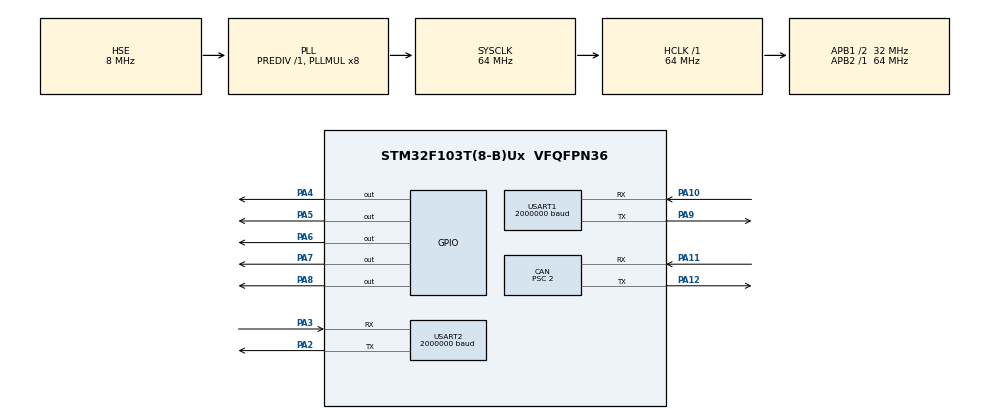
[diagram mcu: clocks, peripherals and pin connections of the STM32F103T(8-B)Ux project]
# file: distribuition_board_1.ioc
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CAN.BS1=CAN_BS1_12TQ
CAN.BS2=CAN_BS2_3TQ
CAN.CalculateBaudRate=1000000
CAN.CalculateTimeBit=1000
CAN.CalculateTimeQuantum=62.5
CAN.Prescaler=2
Dma.Request0=USART1_RX
Dma.Request1=USART2_RX
Dma.USART1_RX.0.Direction=DMA_PERIPH_TO_MEMORY
Dma.USART1_RX.0.Instance=DMA1_Channel5
Dma.USART1_RX.0.MemDataAlignment=DMA_MDATAALIGN_BYTE
Dma.USART1_RX.0.MemInc=DMA_MINC_ENABLE
Dma.USART1_RX.0.Mode=DMA_NORMAL
Dma.USART1_RX.0.PeriphDataAlignment=DMA_PDATAALIGN_BYTE
Dma.USART1_RX.0.PeriphInc=DMA_PINC_DISABLE
Dma.USART1_RX.0.Priority=DMA_PRIORITY_HIGH
Dma.USART2_RX.1.Direction=DMA_PERIPH_TO_MEMORY
Dma.USART2_RX.1.Instance=DMA1_Channel6
Dma.USART2_RX.1.MemDataAlignment=DMA_MDATAALIGN_BYTE
Dma.USART2_RX.1.MemInc=DMA_MINC_ENABLE
Dma.USART2_RX.1.Mode=DMA_NORMAL
Dma.USART2_RX.1.PeriphDataAlignment=DMA_PDATAALIGN_BYTE
Dma.USART2_RX.1.PeriphInc=DMA_PINC_DISABLE
Dma.USART2_RX.1.Priority=DMA_PRIORITY_HIGH
Mcu.Family=STM32F1
Mcu.Name=STM32F103T(8-B)Ux
Mcu.Package=VFQFPN36
NVIC.DMA1_Channel5_IRQn=true\:0\:0\:false\:false\:true\:false\:true\:true
NVIC.DMA1_Channel6_IRQn=true\:0\:0\:false\:false\:true\:false\:true\:true
NVIC.PriorityGroup=NVIC_PRIORITYGROUP_4
NVIC.USART1_IRQn=true\:0\:0\:false\:false\:true\:true\:true\:true
NVIC.USART2_IRQn=true\:0\:0\:false\:false\:true\:true\:true\:true
NVIC.USB_LP_CAN1_RX0_IRQn=true\:0\:0\:false\:false\:true\:true\:true\:true
PA10.GPIO_PuPd=GPIO_PULLUP
PA10.Mode=Asynchronous
PA10.Signal=USART1_RX
PA11.Mode=CAN_Activate
PA11.Signal=CAN_RX
PA12.Mode=CAN_Activate
PA12.Signal=CAN_TX
PA13.Mode=Trace_Asynchronous_SW
PA13.Signal=SYS_JTMS-SWDIO
PA14.Mode=Trace_Asynchronous_SW
PA14.Signal=SYS_JTCK-SWCLK
PA2.Mode=Asynchronous
PA2.Signal=USART2_TX
PA3.GPIO_PuPd=GPIO_PULLUP
PA3.Mode=Asynchronous
PA3.Signal=USART2_RX
PA4.GPIO_ModeDefaultOutputPP=GPIO_MODE_OUTPUT_PP
PA4.GPIO_PuPd=GPIO_NOPULL
PA4.Signal=GPIO_Output
PA5.GPIO_PuPd=GPIO_NOPULL
PA5.Signal=GPIO_Output
PA6.GPIO_PuPd=GPIO_NOPULL
PA6.Signal=GPIO_Output
PA7.GPIO_PuPd=GPIO_NOPULL
PA7.Signal=GPIO_Output
PA8.GPIO_ModeDefaultOutputPP=GPIO_MODE_OUTPUT_PP
PA8.GPIO_PuPd=GPIO_NOPULL
PA8.Signal=GPIO_Output
PA9.Mode=Asynchronous
PA9.Signal=USART1_TX
PB3.Mode=Trace_Asynchronous_SW
PB3.Signal=SYS_JTDO-TRACESWO
PD0-OSC_IN.Mode=HSE-External-Clock-Source
PD0-OSC_IN.Signal=RCC_OSC_IN
PD1-OSC_OUT.Mode=HSE-External-Clock-Source
PD1-OSC_OUT.Signal=RCC_OSC_OUT
ProjectManager.HeapSize=0x200
ProjectManager.StackSize=0x400
ProjectManager.TargetToolchain=STM32CubeIDE
RCC.AHBFreq_Value=64000000
RCC.APB1CLKDivider=RCC_HCLK_DIV2
RCC.APB1Freq_Value=32000000
RCC.APB1TimFreq_Value=64000000
RCC.APB2Freq_Value=64000000
RCC.APB2TimFreq_Value=64000000
RCC.HCLKFreq_Value=64000000
RCC.PLLMUL=RCC_PLL_MUL8
RCC.PLLSourceVirtual=RCC_PLLSOURCE_HSE
RCC.SYSCLKFreq_VALUE=64000000
RCC.SYSCLKSource=RCC_SYSCLKSOURCE_PLLCLK
RCC.USBFreq_Value=64000000
USART1.BaudRate=2000000
USART1.VirtualMode=VM_ASYNC
USART2.BaudRate=2000000
USART2.VirtualMode=VM_ASYNC
board=custom

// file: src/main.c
/* USER CODE BEGIN Header */
/**
  ******************************************************************************
  * @file           : main.c
  * @brief          : Main program body
  ******************************************************************************
  * @attention
  *
  * Copyright (c) 2026 STMicroelectronics.
  * All rights reserved.
  *
  * This software is licensed under terms that can be found in the LICENSE file
  * in the root directory of this software component.
  * If no LICENSE file comes with this software, it is provided AS-IS.
  *
  ******************************************************************************
  */
/* USER CODE END Header */
#include "main.h"

/* USER CODE BEGIN Includes */
#include "app.h"
#include "debug_log.h"
/* USER CODE END Includes */

CAN_HandleTypeDef hcan;

UART_HandleTypeDef huart1;
UART_HandleTypeDef huart2;
DMA_HandleTypeDef hdma_usart1_rx;
DMA_HandleTypeDef hdma_usart2_rx;

void SystemClock_Config(void);
static void MX_GPIO_Init(void);
static void MX_DMA_Init(void);
static void MX_CAN_Init(void);
static void MX_USART1_UART_Init(void);
static void MX_USART2_UART_Init(void);
/* USER CODE BEGIN PFP */
static void log_reset_flags(void);
static void wait_for_log_flush(void);

/* USER CODE END PFP */

/* USER CODE BEGIN 0 */
static void log_reset_flags(void)
{
  uint32_t flags = RCC->CSR;

  LOG("Reset flags:");
  if ((flags & RCC_CSR_PORRSTF) != 0U) {
    LOG(" POR");
  }
  if ((flags & RCC_CSR_PINRSTF) != 0U) {
    LOG(" PIN");
  }
  if ((flags & RCC_CSR_SFTRSTF) != 0U) {
    LOG(" SFT");
  }
  if ((flags & RCC_CSR_IWDGRSTF) != 0U) {
    LOG(" IWDG");
  }
  if ((flags & RCC_CSR_WWDGRSTF) != 0U) {
    LOG(" WWDG");
  }
  if ((flags & RCC_CSR_LPWRRSTF) != 0U) {
    LOG(" LPWR");
  }
  if ((flags & (RCC_CSR_PORRSTF |
                RCC_CSR_PINRSTF |
                RCC_CSR_SFTRSTF |
                RCC_CSR_IWDGRSTF |
                RCC_CSR_WWDGRSTF |
                RCC_CSR_LPWRRSTF)) == 0U) {
    LOG(" none");
  }
  LOG("\n");
  __HAL_RCC_CLEAR_RESET_FLAGS();
}

static void wait_for_log_flush(void)
{
  volatile uint32_t cycles;

  for (cycles = 0U; cycles < 720000U; cycles++) {
    __NOP();
  }
}

/* USER CODE END 0 */

int main(void)
{

  /* MCU Configuration--------------------------------------------------------*/

  /* Reset of all peripherals, Initializes the Flash interface and the Systick. */
  HAL_Init();

  /* Configure the system clock */
  SystemClock_Config();

  /* USER CODE BEGIN SysInit */
  log_reset_flags();

  /* USER CODE END SysInit */

  /* Initialize all configured peripherals */
  MX_GPIO_Init();
  MX_DMA_Init();
  MX_CAN_Init();
  MX_USART1_UART_Init();
  MX_USART2_UART_Init();
  /* USER CODE BEGIN 2 */
  init();
  /* USER CODE END 2 */

  /* Infinite loop */
  while (1)
  {

    /* USER CODE BEGIN 3 */
    poll();
  }
  /* USER CODE END 3 */
}

void SystemClock_Config(void)
{
  RCC_OscInitTypeDef RCC_OscInitStruct = {0};
  RCC_ClkInitTypeDef RCC_ClkInitStruct = {0};

  /** Initializes the RCC Oscillators according to the specified parameters
  * in the RCC_OscInitTypeDef structure.
  */
  RCC_OscInitStruct.OscillatorType = RCC_OSCILLATORTYPE_HSE;
  RCC_OscInitStruct.HSEState = RCC_HSE_BYPASS;
  RCC_OscInitStruct.HSEPredivValue = RCC_HSE_PREDIV_DIV1;
  RCC_OscInitStruct.HSIState = RCC_HSI_ON;
  RCC_OscInitStruct.PLL.PLLState = RCC_PLL_ON;
  RCC_OscInitStruct.PLL.PLLSource = RCC_PLLSOURCE_HSE;
  RCC_OscInitStruct.PLL.PLLMUL = RCC_PLL_MUL8;
  if (HAL_RCC_OscConfig(&RCC_OscInitStruct) != HAL_OK)
  {
    Error_Handler();
  }

  /** Initializes the CPU, AHB and APB buses clocks
  */
  RCC_ClkInitStruct.ClockType = RCC_CLOCKTYPE_HCLK|RCC_CLOCKTYPE_SYSCLK
                              |RCC_CLOCKTYPE_PCLK1|RCC_CLOCKTYPE_PCLK2;
  RCC_ClkInitStruct.SYSCLKSource = RCC_SYSCLKSOURCE_PLLCLK;
  RCC_ClkInitStruct.AHBCLKDivider = RCC_SYSCLK_DIV1;
  RCC_ClkInitStruct.APB1CLKDivider = RCC_HCLK_DIV2;
  RCC_ClkInitStruct.APB2CLKDivider = RCC_HCLK_DIV1;

  if (HAL_RCC_ClockConfig(&RCC_ClkInitStruct, FLASH_LATENCY_2) != HAL_OK)
  {
    Error_Handler();
  }
}

static void MX_CAN_Init(void)
{

  hcan.Instance = CAN1;
  hcan.Init.Prescaler = 2;
  hcan.Init.Mode = CAN_MODE_NORMAL;
  hcan.Init.SyncJumpWidth = CAN_SJW_1TQ;
  hcan.Init.TimeSeg1 = CAN_BS1_12TQ;
  hcan.Init.TimeSeg2 = CAN_BS2_3TQ;
  hcan.Init.TimeTriggeredMode = DISABLE;
  hcan.Init.AutoBusOff = DISABLE;
  hcan.Init.AutoWakeUp = DISABLE;
  hcan.Init.AutoRetransmission = DISABLE;
  hcan.Init.ReceiveFifoLocked = DISABLE;
  hcan.Init.TransmitFifoPriority = DISABLE;
  if (HAL_CAN_Init(&hcan) != HAL_OK)
  {
    Error_Handler();
  }

}

static void MX_USART1_UART_Init(void)
{

  huart1.Instance = USART1;
  huart1.Init.BaudRate = 2000000;
  huart1.Init.WordLength = UART_WORDLENGTH_8B;
  huart1.Init.StopBits = UART_STOPBITS_1;
  huart1.Init.Parity = UART_PARITY_NONE;
  huart1.Init.Mode = UART_MODE_TX_RX;
  huart1.Init.HwFlowCtl = UART_HWCONTROL_NONE;
  huart1.Init.OverSampling = UART_OVERSAMPLING_16;
  if (HAL_UART_Init(&huart1) != HAL_OK)
  {
    Error_Handler();
  }

}

static void MX_USART2_UART_Init(void)
{

  huart2.Instance = USART2;
  huart2.Init.BaudRate = 2000000;
  huart2.Init.WordLength = UART_WORDLENGTH_8B;
  huart2.Init.StopBits = UART_STOPBITS_1;
  huart2.Init.Parity = UART_PARITY_NONE;
  huart2.Init.Mode = UART_MODE_TX_RX;
  huart2.Init.HwFlowCtl = UART_HWCONTROL_NONE;
  huart2.Init.OverSampling = UART_OVERSAMPLING_16;
  if (HAL_UART_Init(&huart2) != HAL_OK)
  {
    Error_Handler();
  }

}

static void MX_DMA_Init(void)
{

  /* DMA controller clock enable */
  __HAL_RCC_DMA1_CLK_ENABLE();

  /* DMA interrupt init */
  /* DMA1_Channel5_IRQn interrupt configuration */
  HAL_NVIC_SetPriority(DMA1_Channel5_IRQn, 0, 0);
  HAL_NVIC_EnableIRQ(DMA1_Channel5_IRQn);
  /* DMA1_Channel6_IRQn interrupt configuration */
  HAL_NVIC_SetPriority(DMA1_Channel6_IRQn, 0, 0);
  HAL_NVIC_EnableIRQ(DMA1_Channel6_IRQn);

}

static void MX_GPIO_Init(void)
{
  GPIO_InitTypeDef GPIO_InitStruct = {0};

  /* GPIO Ports Clock Enable */
  __HAL_RCC_GPIOD_CLK_ENABLE();
  __HAL_RCC_GPIOA_CLK_ENABLE();
  __HAL_RCC_GPIOB_CLK_ENABLE();

  /*Configure GPIO pin Output Level */
  HAL_GPIO_WritePin(GPIOA, GPIO_PIN_4|GPIO_PIN_5|GPIO_PIN_6|GPIO_PIN_7
                          |GPIO_PIN_8, GPIO_PIN_RESET);

  /*Configure GPIO pins : PA4 PA5 PA6 PA7
                           PA8 */
  GPIO_InitStruct.Pin = GPIO_PIN_4|GPIO_PIN_5|GPIO_PIN_6|GPIO_PIN_7
                          |GPIO_PIN_8;
  GPIO_InitStruct.Mode = GPIO_MODE_OUTPUT_PP;
  GPIO_InitStruct.Pull = GPIO_NOPULL;
  GPIO_InitStruct.Speed = GPIO_SPEED_FREQ_LOW;
  HAL_GPIO_Init(GPIOA, &GPIO_InitStruct);

}

void Error_Handler(void)
{
  /* USER CODE BEGIN Error_Handler_Debug */
  /* User can add his own implementation to report the HAL error return state */
  LOG("Fatal Error_Handler invoked.\n");
  wait_for_log_flush();
  __disable_irq();
  NVIC_SystemReset();
  while (1)
  {
  }
  /* USER CODE END Error_Handler_Debug */
}
#ifdef USE_FULL_ASSERT
/**
  * @brief  Reports the name of the source file and the source line number
  *         where the assert_param error has occurred.
  * @param  file: pointer to the source file name
  * @param  line: assert_param error line source number
  * @retval None
  */
void assert_failed(uint8_t *file, uint32_t line)
{
  /* USER CODE BEGIN 6 */
  /* User can add his own implementation to report the file name and line number,
     ex: printf("Wrong parameters value: file %s on line %d\r\n", file, line) */
  (void)file;
  (void)line;
  Error_Handler();
  /* USER CODE END 6 */
}
#endif /* USE_FULL_ASSERT */
